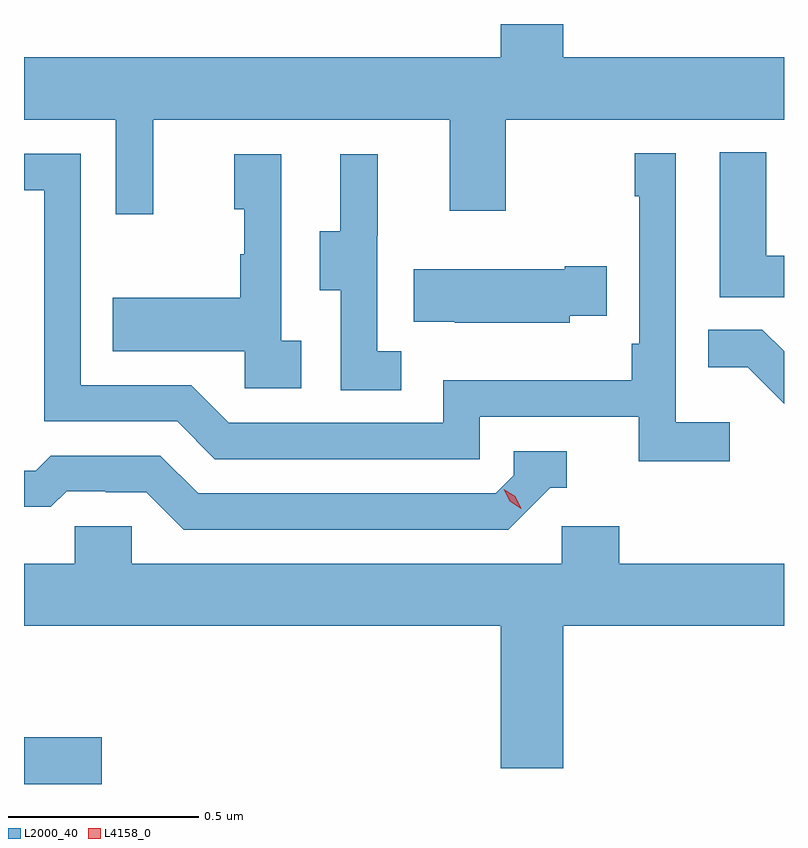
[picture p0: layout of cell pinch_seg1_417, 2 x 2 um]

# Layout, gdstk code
import gdstk
lib = gdstk.Library(unit=1e-6, precision=1e-09)
def R(c, l, rs):  # rectangles x0, y0, x1, y1
    for r in rs: c.add(gdstk.rectangle(r[:2], r[2:], *l))
def P(c, l, *ps):  # polygons
    for p in ps: c.add(gdstk.Polygon(p, *l))
L2000_40 = (2000, 40)
L4158_0 = (4158, 0)

pinch_seg1_417 = lib.new_cell('pinch_seg1_417')
R(pinch_seg1_417, L2000_40, [(942.973,527.34,943.177,527.463)])
P(pinch_seg1_417, L2000_40, [(943.313,529.088),(944.093,529.088),(944.093,528.849),(944.241,528.849),(944.241,529.088),(944.973,529.088),(944.973,529.252),(944.392,529.252),(944.392,529.34),(944.228,529.34),(944.228,529.252),(942.973,529.252),(942.973,529.088),(943.215,529.088),(943.215,528.84),(943.313,528.84)],
  [(944.973,528.73),(944.926,528.73),(944.926,529.003),(944.804,529.003),(944.804,528.621),(944.973,528.621)],
  [(944.83,528.292),(944.688,528.292),(944.688,529),(944.58,529),(944.58,528.887),(944.592,528.887),(944.592,528.499),(944.572,528.499),(944.572,528.403),(944.076,528.403),(944.076,528.291),(943.512,528.291),(943.413,528.39),(943.122,528.39),(943.122,528.999),(942.973,528.999),(942.973,528.903),(943.026,528.903),(943.026,528.294),(943.376,528.294),(943.475,528.195),(944.172,528.195),(944.172,528.306),(944.591,528.306),(944.591,528.19),(944.83,528.19)],
  [(943.702,528.506),(943.65,528.506),(943.65,528.997),(943.526,528.997),(943.526,528.852),(943.552,528.852),(943.552,528.734),(943.542,528.734),(943.542,528.619),(943.207,528.619),(943.207,528.479),(943.554,528.479),(943.554,528.381),(943.702,528.381)],
  [(943.966,528.479),(943.902,528.479),(943.902,528.783),(943.904,528.783),(943.904,528.997),(943.805,528.997),(943.805,528.795),(943.751,528.795),(943.751,528.64),(943.806,528.64),(943.806,528.376),(943.966,528.376)],
  [(944.409,528.572),(944.507,528.572),(944.507,528.702),(944.396,528.702),(944.396,528.694),(943.999,528.694),(943.999,528.557),(944.107,528.557),(944.107,528.554),(944.409,528.554)],
  [(944.973,528.479),(944.916,528.536),(944.773,528.536),(944.773,528.437),(944.877,528.437),(944.973,528.341)],
  [(944.358,528.12),(944.401,528.12),(944.401,528.216),(944.262,528.216),(944.262,528.153),(944.214,528.105),(943.431,528.105),(943.332,528.204),(943.043,528.204),(943.004,528.165),(942.973,528.165),(942.973,528.069),(943.043,528.069),(943.085,528.111),(943.188,528.111),(943.188,528.108),(943.295,528.108),(943.394,528.009),(944.247,528.009)],
  [(944.392,527.756),(944.973,527.756),(944.973,527.92),(944.54,527.92),(944.54,528.018),(944.388,528.018),(944.388,527.92),(943.257,527.92),(943.257,528.018),(943.107,528.018),(943.107,527.92),(942.973,527.92),(942.973,527.756),(944.228,527.756),(944.228,527.382),(944.392,527.382)])
P(pinch_seg1_417, L4158_0, [(944.282,528.064),(944.251,528.084),(944.236,528.116),(944.236,528.116),(944.236,528.116),(944.266,528.097),(944.282,528.064),(944.282,528.064)])

lib.write_gds('pinch_seg1_417.gds')
